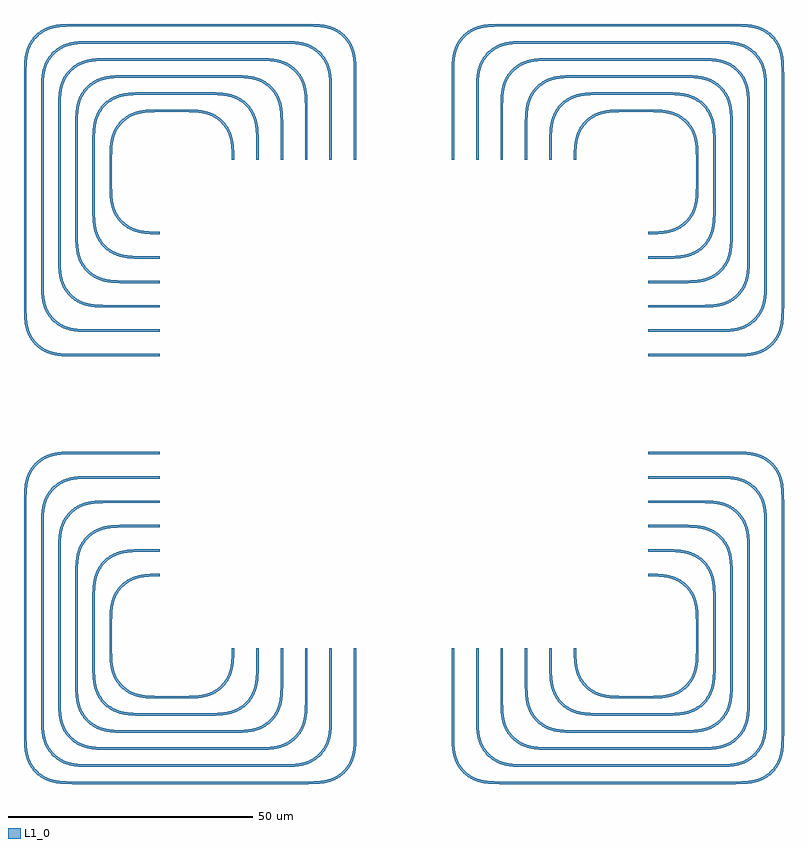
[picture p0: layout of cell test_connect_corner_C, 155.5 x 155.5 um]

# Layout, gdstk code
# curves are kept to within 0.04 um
from math import pi, radians
import gdstk
lib = gdstk.Library(unit=1e-6, precision=1e-09)
def R(c, l, rs):  # rectangles x0, y0, x1, y1
    for r in rs: c.add(gdstk.rectangle(r[:2], r[2:], *l))
def P(c, l, *ps):  # polygons
    for p in ps: c.add(gdstk.Polygon(p, *l))
L1_0 = (1, 0)

bend_euler_gdsfactorypco = lib.new_cell('bend_euler_gdsfactorypcomponentspbendspbend_euler_R10_A_335c8724')
P(bend_euler_gdsfactorypco, L1_0, [(0,-0.25),(0,0.25),(1.655,0.269),(2.881,0.353),(3.952,0.52),(4.99,0.806),(5.731,1.113),(6.431,1.505),(7.575,2.425),(8.495,3.569),(8.887,4.269),(9.194,5.01),(9.48,6.048),(9.647,7.119),(9.731,8.345),(9.75,10),(10.25,10),(10.158,7.205),(10.023,6.224),(9.797,5.254),(9.457,4.312),(9.066,3.545),(8.5,2.715),(7.928,2.072),(7.285,1.5),(6.455,0.934),(5.688,0.543),(4.746,0.203),(3.776,-0.023),(2.795,-0.158)])

straight_gdsfactorypcomp = lib.new_cell('straight_gdsfactorypcomponentspwaveguidespstraight_L17p_81c3d6df')
R(straight_gdsfactorypcomp, L1_0, [(0,-0.25,17.5,0.25)])

c_straight_gdsfactorypcomp = lib.new_cell('straight_gdsfactorypcomponentspwaveguidespstraight_L47p_ca620190')
R(c_straight_gdsfactorypcomp, L1_0, [(0,-0.25,47.5,0.25)])

c_straight_gdsfactorypcomp_ = lib.new_cell('straight_gdsfactorypcomponentspwaveguidespstraight_L14__adde60b4')
R(c_straight_gdsfactorypcomp_, L1_0, [(0,-0.25,14,0.25)])

c_straight_gdsfactorypcomp__ = lib.new_cell('straight_gdsfactorypcomponentspwaveguidespstraight_L39__96434632')
R(c_straight_gdsfactorypcomp__, L1_0, [(0,-0.25,39,0.25)])

c_straight_gdsfactorypcomp___ = lib.new_cell('straight_gdsfactorypcomponentspwaveguidespstraight_L10p_da623fc9')
R(c_straight_gdsfactorypcomp___, L1_0, [(0,-0.25,10.5,0.25)])

c_straight_gdsfactorypcomp____ = lib.new_cell('straight_gdsfactorypcomponentspwaveguidespstraight_L30p_21b07999')
R(c_straight_gdsfactorypcomp____, L1_0, [(0,-0.25,30.5,0.25)])

c_straight_gdsfactorypcomp_____ = lib.new_cell('straight_gdsfactorypcomponentspwaveguidespstraight_L7_N_5487c68f')
R(c_straight_gdsfactorypcomp_____, L1_0, [(0,-0.25,7,0.25)])

c_straight_gdsfactorypcomp______ = lib.new_cell('straight_gdsfactorypcomponentspwaveguidespstraight_L22__d5b5a5a4')
R(c_straight_gdsfactorypcomp______, L1_0, [(0,-0.25,22,0.25)])

c_straight_gdsfactorypcomp_______ = lib.new_cell('straight_gdsfactorypcomponentspwaveguidespstraight_L3p5_233edd08')
R(c_straight_gdsfactorypcomp_______, L1_0, [(0,-0.25,3.5,0.25)])

c_straight_gdsfactorypcomp________ = lib.new_cell('straight_gdsfactorypcomponentspwaveguidespstraight_L13p_5d7bad5d')
R(c_straight_gdsfactorypcomp________, L1_0, [(0,-0.25,13.5,0.25)])

c_straight_gdsfactorypcomp_________ = lib.new_cell('straight_gdsfactorypcomponentspwaveguidespstraight_L5_N_f5657628')
R(c_straight_gdsfactorypcomp_________, L1_0, [(0,-0.25,5,0.25)])

test_connect_corner_c = lib.new_cell('test_connect_corner_C')
test_connect_corner_c.add(gdstk.Reference(bend_euler_gdsfactorypco, (77.5,20), rotation=3*pi/2, x_reflection=True))
test_connect_corner_c.add(gdstk.Reference(straight_gdsfactorypcomp, (50,10)))
test_connect_corner_c.add(gdstk.Reference(bend_euler_gdsfactorypco, (67.5,77.5), x_reflection=True))
test_connect_corner_c.add(gdstk.Reference(c_straight_gdsfactorypcomp, (77.5,20), rotation=pi/2))
test_connect_corner_c.add(gdstk.Reference(bend_euler_gdsfactorypco, (10,67.5), rotation=pi/2, x_reflection=True))
test_connect_corner_c.add(gdstk.Reference(c_straight_gdsfactorypcomp, (67.5,77.5), rotation=pi))
test_connect_corner_c.add(gdstk.Reference(straight_gdsfactorypcomp, (10,67.5), rotation=3*pi/2))
test_connect_corner_c.add(gdstk.Reference(bend_euler_gdsfactorypco, (74,25), rotation=3*pi/2, x_reflection=True))
test_connect_corner_c.add(gdstk.Reference(c_straight_gdsfactorypcomp_, (50,15)))
test_connect_corner_c.add(gdstk.Reference(bend_euler_gdsfactorypco, (64,74), x_reflection=True))
test_connect_corner_c.add(gdstk.Reference(c_straight_gdsfactorypcomp__, (74,25), rotation=pi/2))
test_connect_corner_c.add(gdstk.Reference(bend_euler_gdsfactorypco, (15,64), rotation=pi/2, x_reflection=True))
test_connect_corner_c.add(gdstk.Reference(c_straight_gdsfactorypcomp__, (64,74), rotation=pi))
test_connect_corner_c.add(gdstk.Reference(c_straight_gdsfactorypcomp_, (15,64), rotation=3*pi/2))
test_connect_corner_c.add(gdstk.Reference(bend_euler_gdsfactorypco, (70.5,30), rotation=3*pi/2, x_reflection=True))
test_connect_corner_c.add(gdstk.Reference(c_straight_gdsfactorypcomp___, (50,20)))
test_connect_corner_c.add(gdstk.Reference(bend_euler_gdsfactorypco, (60.5,70.5), x_reflection=True))
test_connect_corner_c.add(gdstk.Reference(c_straight_gdsfactorypcomp____, (70.5,30), rotation=pi/2))
test_connect_corner_c.add(gdstk.Reference(bend_euler_gdsfactorypco, (20,60.5), rotation=pi/2, x_reflection=True))
test_connect_corner_c.add(gdstk.Reference(c_straight_gdsfactorypcomp____, (60.5,70.5), rotation=pi))
test_connect_corner_c.add(gdstk.Reference(c_straight_gdsfactorypcomp___, (20,60.5), rotation=3*pi/2))
test_connect_corner_c.add(gdstk.Reference(bend_euler_gdsfactorypco, (67,35), rotation=3*pi/2, x_reflection=True))
test_connect_corner_c.add(gdstk.Reference(c_straight_gdsfactorypcomp_____, (50,25)))
test_connect_corner_c.add(gdstk.Reference(bend_euler_gdsfactorypco, (57,67), x_reflection=True))
test_connect_corner_c.add(gdstk.Reference(c_straight_gdsfactorypcomp______, (67,35), rotation=pi/2))
test_connect_corner_c.add(gdstk.Reference(bend_euler_gdsfactorypco, (25,57), rotation=pi/2, x_reflection=True))
test_connect_corner_c.add(gdstk.Reference(c_straight_gdsfactorypcomp______, (57,67), rotation=pi))
test_connect_corner_c.add(gdstk.Reference(c_straight_gdsfactorypcomp_____, (25,57), rotation=3*pi/2))
test_connect_corner_c.add(gdstk.Reference(bend_euler_gdsfactorypco, (63.5,40), rotation=3*pi/2, x_reflection=True))
test_connect_corner_c.add(gdstk.Reference(c_straight_gdsfactorypcomp_______, (50,30)))
test_connect_corner_c.add(gdstk.Reference(bend_euler_gdsfactorypco, (53.5,63.5), x_reflection=True))
test_connect_corner_c.add(gdstk.Reference(c_straight_gdsfactorypcomp________, (63.5,40), rotation=pi/2))
test_connect_corner_c.add(gdstk.Reference(bend_euler_gdsfactorypco, (30,53.5), rotation=pi/2, x_reflection=True))
test_connect_corner_c.add(gdstk.Reference(c_straight_gdsfactorypcomp________, (53.5,63.5), rotation=pi))
test_connect_corner_c.add(gdstk.Reference(c_straight_gdsfactorypcomp_______, (30,53.5), rotation=3*pi/2))
test_connect_corner_c.add(gdstk.Reference(bend_euler_gdsfactorypco, (60,45), rotation=3*pi/2, x_reflection=True))
test_connect_corner_c.add(gdstk.Reference(bend_euler_gdsfactorypco, (50,60), x_reflection=True))
test_connect_corner_c.add(gdstk.Reference(c_straight_gdsfactorypcomp_________, (60,45), rotation=pi/2))
test_connect_corner_c.add(gdstk.Reference(bend_euler_gdsfactorypco, (35,50), rotation=pi/2, x_reflection=True))
test_connect_corner_c.add(gdstk.Reference(c_straight_gdsfactorypcomp_________, (50,60), rotation=pi))
test_connect_corner_c.add(gdstk.Reference(bend_euler_gdsfactorypco, (-77.5,20), rotation=3*pi/2))
test_connect_corner_c.add(gdstk.Reference(straight_gdsfactorypcomp, (-50,10), rotation=pi))
test_connect_corner_c.add(gdstk.Reference(bend_euler_gdsfactorypco, (-67.5,77.5), rotation=pi))
test_connect_corner_c.add(gdstk.Reference(c_straight_gdsfactorypcomp, (-77.5,20), rotation=pi/2))
test_connect_corner_c.add(gdstk.Reference(bend_euler_gdsfactorypco, (-10,67.5), rotation=pi/2))
test_connect_corner_c.add(gdstk.Reference(c_straight_gdsfactorypcomp, (-67.5,77.5)))
test_connect_corner_c.add(gdstk.Reference(straight_gdsfactorypcomp, (-10,67.5), rotation=3*pi/2))
test_connect_corner_c.add(gdstk.Reference(bend_euler_gdsfactorypco, (-74,25), rotation=3*pi/2))
test_connect_corner_c.add(gdstk.Reference(c_straight_gdsfactorypcomp_, (-50,15), rotation=pi))
test_connect_corner_c.add(gdstk.Reference(bend_euler_gdsfactorypco, (-64,74), rotation=pi))
test_connect_corner_c.add(gdstk.Reference(c_straight_gdsfactorypcomp__, (-74,25), rotation=pi/2))
test_connect_corner_c.add(gdstk.Reference(bend_euler_gdsfactorypco, (-15,64), rotation=pi/2))
test_connect_corner_c.add(gdstk.Reference(c_straight_gdsfactorypcomp__, (-64,74)))
test_connect_corner_c.add(gdstk.Reference(c_straight_gdsfactorypcomp_, (-15,64), rotation=3*pi/2))
test_connect_corner_c.add(gdstk.Reference(bend_euler_gdsfactorypco, (-70.5,30), rotation=3*pi/2))
test_connect_corner_c.add(gdstk.Reference(c_straight_gdsfactorypcomp___, (-50,20), rotation=pi))
test_connect_corner_c.add(gdstk.Reference(bend_euler_gdsfactorypco, (-60.5,70.5), rotation=pi))
test_connect_corner_c.add(gdstk.Reference(c_straight_gdsfactorypcomp____, (-70.5,30), rotation=pi/2))
test_connect_corner_c.add(gdstk.Reference(bend_euler_gdsfactorypco, (-20,60.5), rotation=pi/2))
test_connect_corner_c.add(gdstk.Reference(c_straight_gdsfactorypcomp____, (-60.5,70.5)))
test_connect_corner_c.add(gdstk.Reference(c_straight_gdsfactorypcomp___, (-20,60.5), rotation=3*pi/2))
test_connect_corner_c.add(gdstk.Reference(bend_euler_gdsfactorypco, (-67,35), rotation=3*pi/2))
test_connect_corner_c.add(gdstk.Reference(c_straight_gdsfactorypcomp_____, (-50,25), rotation=pi))
test_connect_corner_c.add(gdstk.Reference(bend_euler_gdsfactorypco, (-57,67), rotation=pi))
test_connect_corner_c.add(gdstk.Reference(c_straight_gdsfactorypcomp______, (-67,35), rotation=pi/2))
test_connect_corner_c.add(gdstk.Reference(bend_euler_gdsfactorypco, (-25,57), rotation=pi/2))
test_connect_corner_c.add(gdstk.Reference(c_straight_gdsfactorypcomp______, (-57,67)))
test_connect_corner_c.add(gdstk.Reference(c_straight_gdsfactorypcomp_____, (-25,57), rotation=3*pi/2))
test_connect_corner_c.add(gdstk.Reference(bend_euler_gdsfactorypco, (-63.5,40), rotation=3*pi/2))
test_connect_corner_c.add(gdstk.Reference(c_straight_gdsfactorypcomp_______, (-50,30), rotation=pi))
test_connect_corner_c.add(gdstk.Reference(bend_euler_gdsfactorypco, (-53.5,63.5), rotation=pi))
test_connect_corner_c.add(gdstk.Reference(c_straight_gdsfactorypcomp________, (-63.5,40), rotation=pi/2))
test_connect_corner_c.add(gdstk.Reference(bend_euler_gdsfactorypco, (-30,53.5), rotation=pi/2))
test_connect_corner_c.add(gdstk.Reference(c_straight_gdsfactorypcomp________, (-53.5,63.5)))
test_connect_corner_c.add(gdstk.Reference(c_straight_gdsfactorypcomp_______, (-30,53.5), rotation=3*pi/2))
test_connect_corner_c.add(gdstk.Reference(bend_euler_gdsfactorypco, (-60,45), rotation=3*pi/2))
test_connect_corner_c.add(gdstk.Reference(bend_euler_gdsfactorypco, (-50,60), rotation=pi))
test_connect_corner_c.add(gdstk.Reference(c_straight_gdsfactorypcomp_________, (-60,45), rotation=pi/2))
test_connect_corner_c.add(gdstk.Reference(bend_euler_gdsfactorypco, (-35,50), rotation=pi/2))
test_connect_corner_c.add(gdstk.Reference(c_straight_gdsfactorypcomp_________, (-50,60)))
test_connect_corner_c.add(gdstk.Reference(bend_euler_gdsfactorypco, (-77.5,-20), rotation=pi/2, x_reflection=True))
test_connect_corner_c.add(gdstk.Reference(straight_gdsfactorypcomp, (-50,-10), rotation=pi))
test_connect_corner_c.add(gdstk.Reference(bend_euler_gdsfactorypco, (-67.5,-77.5), rotation=pi, x_reflection=True))
test_connect_corner_c.add(gdstk.Reference(c_straight_gdsfactorypcomp, (-77.5,-20), rotation=3*pi/2))
test_connect_corner_c.add(gdstk.Reference(bend_euler_gdsfactorypco, (-10,-67.5), rotation=3*pi/2, x_reflection=True))
test_connect_corner_c.add(gdstk.Reference(c_straight_gdsfactorypcomp, (-67.5,-77.5)))
test_connect_corner_c.add(gdstk.Reference(straight_gdsfactorypcomp, (-10,-67.5), rotation=pi/2))
test_connect_corner_c.add(gdstk.Reference(bend_euler_gdsfactorypco, (-74,-25), rotation=pi/2, x_reflection=True))
test_connect_corner_c.add(gdstk.Reference(c_straight_gdsfactorypcomp_, (-50,-15), rotation=pi))
test_connect_corner_c.add(gdstk.Reference(bend_euler_gdsfactorypco, (-64,-74), rotation=pi, x_reflection=True))
test_connect_corner_c.add(gdstk.Reference(c_straight_gdsfactorypcomp__, (-74,-25), rotation=3*pi/2))
test_connect_corner_c.add(gdstk.Reference(bend_euler_gdsfactorypco, (-15,-64), rotation=3*pi/2, x_reflection=True))
test_connect_corner_c.add(gdstk.Reference(c_straight_gdsfactorypcomp__, (-64,-74)))
test_connect_corner_c.add(gdstk.Reference(c_straight_gdsfactorypcomp_, (-15,-64), rotation=pi/2))
test_connect_corner_c.add(gdstk.Reference(bend_euler_gdsfactorypco, (-70.5,-30), rotation=pi/2, x_reflection=True))
test_connect_corner_c.add(gdstk.Reference(c_straight_gdsfactorypcomp___, (-50,-20), rotation=pi))
test_connect_corner_c.add(gdstk.Reference(bend_euler_gdsfactorypco, (-60.5,-70.5), rotation=pi, x_reflection=True))
test_connect_corner_c.add(gdstk.Reference(c_straight_gdsfactorypcomp____, (-70.5,-30), rotation=3*pi/2))
test_connect_corner_c.add(gdstk.Reference(bend_euler_gdsfactorypco, (-20,-60.5), rotation=3*pi/2, x_reflection=True))
test_connect_corner_c.add(gdstk.Reference(c_straight_gdsfactorypcomp____, (-60.5,-70.5)))
test_connect_corner_c.add(gdstk.Reference(c_straight_gdsfactorypcomp___, (-20,-60.5), rotation=pi/2))
test_connect_corner_c.add(gdstk.Reference(bend_euler_gdsfactorypco, (-67,-35), rotation=pi/2, x_reflection=True))
test_connect_corner_c.add(gdstk.Reference(c_straight_gdsfactorypcomp_____, (-50,-25), rotation=pi))
test_connect_corner_c.add(gdstk.Reference(bend_euler_gdsfactorypco, (-57,-67), rotation=pi, x_reflection=True))
test_connect_corner_c.add(gdstk.Reference(c_straight_gdsfactorypcomp______, (-67,-35), rotation=3*pi/2))
test_connect_corner_c.add(gdstk.Reference(bend_euler_gdsfactorypco, (-25,-57), rotation=3*pi/2, x_reflection=True))
test_connect_corner_c.add(gdstk.Reference(c_straight_gdsfactorypcomp______, (-57,-67)))
test_connect_corner_c.add(gdstk.Reference(c_straight_gdsfactorypcomp_____, (-25,-57), rotation=pi/2))
test_connect_corner_c.add(gdstk.Reference(bend_euler_gdsfactorypco, (-63.5,-40), rotation=pi/2, x_reflection=True))
test_connect_corner_c.add(gdstk.Reference(c_straight_gdsfactorypcomp_______, (-50,-30), rotation=pi))
test_connect_corner_c.add(gdstk.Reference(bend_euler_gdsfactorypco, (-53.5,-63.5), rotation=pi, x_reflection=True))
test_connect_corner_c.add(gdstk.Reference(c_straight_gdsfactorypcomp________, (-63.5,-40), rotation=3*pi/2))
test_connect_corner_c.add(gdstk.Reference(bend_euler_gdsfactorypco, (-30,-53.5), rotation=3*pi/2, x_reflection=True))
test_connect_corner_c.add(gdstk.Reference(c_straight_gdsfactorypcomp________, (-53.5,-63.5)))
test_connect_corner_c.add(gdstk.Reference(c_straight_gdsfactorypcomp_______, (-30,-53.5), rotation=pi/2))
test_connect_corner_c.add(gdstk.Reference(bend_euler_gdsfactorypco, (-60,-45), rotation=pi/2, x_reflection=True))
test_connect_corner_c.add(gdstk.Reference(bend_euler_gdsfactorypco, (-50,-60), rotation=pi, x_reflection=True))
test_connect_corner_c.add(gdstk.Reference(c_straight_gdsfactorypcomp_________, (-60,-45), rotation=3*pi/2))
test_connect_corner_c.add(gdstk.Reference(bend_euler_gdsfactorypco, (-35,-50), rotation=3*pi/2, x_reflection=True))
test_connect_corner_c.add(gdstk.Reference(c_straight_gdsfactorypcomp_________, (-50,-60)))
test_connect_corner_c.add(gdstk.Reference(bend_euler_gdsfactorypco, (77.5,-20), rotation=pi/2))
test_connect_corner_c.add(gdstk.Reference(straight_gdsfactorypcomp, (50,-10)))
test_connect_corner_c.add(gdstk.Reference(bend_euler_gdsfactorypco, (67.5,-77.5)))
test_connect_corner_c.add(gdstk.Reference(c_straight_gdsfactorypcomp, (77.5,-20), rotation=3*pi/2))
test_connect_corner_c.add(gdstk.Reference(bend_euler_gdsfactorypco, (10,-67.5), rotation=3*pi/2))
test_connect_corner_c.add(gdstk.Reference(c_straight_gdsfactorypcomp, (67.5,-77.5), rotation=pi))
test_connect_corner_c.add(gdstk.Reference(straight_gdsfactorypcomp, (10,-67.5), rotation=pi/2))
test_connect_corner_c.add(gdstk.Reference(bend_euler_gdsfactorypco, (74,-25), rotation=pi/2))
test_connect_corner_c.add(gdstk.Reference(c_straight_gdsfactorypcomp_, (50,-15)))
test_connect_corner_c.add(gdstk.Reference(bend_euler_gdsfactorypco, (64,-74)))
test_connect_corner_c.add(gdstk.Reference(c_straight_gdsfactorypcomp__, (74,-25), rotation=3*pi/2))
test_connect_corner_c.add(gdstk.Reference(bend_euler_gdsfactorypco, (15,-64), rotation=3*pi/2))
test_connect_corner_c.add(gdstk.Reference(c_straight_gdsfactorypcomp__, (64,-74), rotation=pi))
test_connect_corner_c.add(gdstk.Reference(c_straight_gdsfactorypcomp_, (15,-64), rotation=pi/2))
test_connect_corner_c.add(gdstk.Reference(bend_euler_gdsfactorypco, (70.5,-30), rotation=pi/2))
test_connect_corner_c.add(gdstk.Reference(c_straight_gdsfactorypcomp___, (50,-20)))
test_connect_corner_c.add(gdstk.Reference(bend_euler_gdsfactorypco, (60.5,-70.5)))
test_connect_corner_c.add(gdstk.Reference(c_straight_gdsfactorypcomp____, (70.5,-30), rotation=3*pi/2))
test_connect_corner_c.add(gdstk.Reference(bend_euler_gdsfactorypco, (20,-60.5), rotation=3*pi/2))
test_connect_corner_c.add(gdstk.Reference(c_straight_gdsfactorypcomp____, (60.5,-70.5), rotation=pi))
test_connect_corner_c.add(gdstk.Reference(c_straight_gdsfactorypcomp___, (20,-60.5), rotation=pi/2))
test_connect_corner_c.add(gdstk.Reference(bend_euler_gdsfactorypco, (67,-35), rotation=pi/2))
test_connect_corner_c.add(gdstk.Reference(c_straight_gdsfactorypcomp_____, (50,-25)))
test_connect_corner_c.add(gdstk.Reference(bend_euler_gdsfactorypco, (57,-67)))
test_connect_corner_c.add(gdstk.Reference(c_straight_gdsfactorypcomp______, (67,-35), rotation=3*pi/2))
test_connect_corner_c.add(gdstk.Reference(bend_euler_gdsfactorypco, (25,-57), rotation=3*pi/2))
test_connect_corner_c.add(gdstk.Reference(c_straight_gdsfactorypcomp______, (57,-67), rotation=pi))
test_connect_corner_c.add(gdstk.Reference(c_straight_gdsfactorypcomp_____, (25,-57), rotation=pi/2))
test_connect_corner_c.add(gdstk.Reference(bend_euler_gdsfactorypco, (63.5,-40), rotation=pi/2))
test_connect_corner_c.add(gdstk.Reference(c_straight_gdsfactorypcomp_______, (50,-30)))
test_connect_corner_c.add(gdstk.Reference(bend_euler_gdsfactorypco, (53.5,-63.5)))
test_connect_corner_c.add(gdstk.Reference(c_straight_gdsfactorypcomp________, (63.5,-40), rotation=3*pi/2))
test_connect_corner_c.add(gdstk.Reference(bend_euler_gdsfactorypco, (30,-53.5), rotation=3*pi/2))
test_connect_corner_c.add(gdstk.Reference(c_straight_gdsfactorypcomp________, (53.5,-63.5), rotation=pi))
test_connect_corner_c.add(gdstk.Reference(c_straight_gdsfactorypcomp_______, (30,-53.5), rotation=pi/2))
test_connect_corner_c.add(gdstk.Reference(bend_euler_gdsfactorypco, (60,-45), rotation=pi/2))
test_connect_corner_c.add(gdstk.Reference(bend_euler_gdsfactorypco, (50,-60)))
test_connect_corner_c.add(gdstk.Reference(c_straight_gdsfactorypcomp_________, (60,-45), rotation=3*pi/2))
test_connect_corner_c.add(gdstk.Reference(bend_euler_gdsfactorypco, (35,-50), rotation=3*pi/2))
test_connect_corner_c.add(gdstk.Reference(c_straight_gdsfactorypcomp_________, (50,-60), rotation=pi))

lib.write_gds('test_connect_corner_C.gds')
